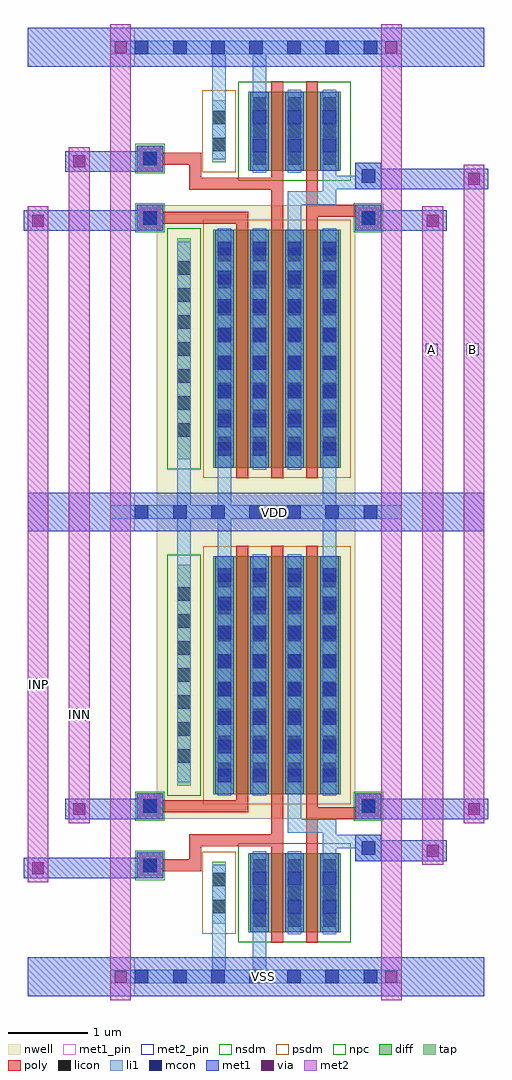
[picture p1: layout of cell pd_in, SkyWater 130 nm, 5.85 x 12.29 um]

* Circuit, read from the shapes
.subckt pd_in A B INN INP VDD VSS
XM1 n1 INP VSS VSS sky130_fd_pr__nfet_01v8 w=1 l=0.15
XM2 n2 INN VSS VSS sky130_fd_pr__nfet_01v8 w=1 l=0.15
XM3 A B n1 VSS sky130_fd_pr__nfet_01v8 w=1 l=0.15
XM4 B A n2 VSS sky130_fd_pr__nfet_01v8 w=1 l=0.15
XM5 n3 INN VDD VDD sky130_fd_pr__pfet_01v8 w=3 l=0.15
XM6 n4 INP VDD VDD sky130_fd_pr__pfet_01v8 w=3 l=0.15
XM7 A INP n3 VDD sky130_fd_pr__pfet_01v8 w=3 l=0.15
XM8 B INN n4 VDD sky130_fd_pr__pfet_01v8 w=3 l=0.15
XM9 VDD B A VDD sky130_fd_pr__pfet_01v8 w=3 l=0.15
XM10 VDD A B VDD sky130_fd_pr__pfet_01v8 w=3 l=0.15
.ends

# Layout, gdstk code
import gdstk
lib = gdstk.Library(unit=1e-6, precision=1e-09)
def R(c, l, rs):  # rectangles x0, y0, x1, y1
    for r in rs: c.add(gdstk.rectangle(r[:2], r[2:], *l))
def A(c, l, x, y, w, h, nx, ny, dx, dy):  # array of equal rectangles
    R(c, l, [(x+i*dx, y+j*dy, x+i*dx+w, y+j*dy+h) for i in range(nx) for j in range(ny)])
nwell = (64, 20)
diff = (65, 20)
tap = (65, 44)
poly = (66, 20)
licon = (66, 44)
li1 = (67, 20)
mcon = (67, 44)
met1_pin = (68, 16)
met1 = (68, 20)
via = (68, 44)
met2_pin = (69, 16)
met2 = (69, 20)
nsdm = (93, 44)
psdm = (94, 20)
npc = (95, 20)

sky130_fd_pr__pfet_01v8_ = lib.new_cell('sky130_fd_pr__pfet_01v8_5EUKDE')
R(sky130_fd_pr__pfet_01v8_, nwell, [(-0.545,-1.81,0.545,1.81)])
R(sky130_fd_pr__pfet_01v8_, diff, [(-0.365,-1.5,0.365,1.5)])
R(sky130_fd_pr__pfet_01v8_, poly, [(-0.075,-1.63,0.075,1.63)])
A(sky130_fd_pr__pfet_01v8_, licon, -0.305, -1.275, 0.17, 0.17, 1, 8, 0, 0.34)
A(sky130_fd_pr__pfet_01v8_, licon, 0.135, -1.275, 0.17, 0.17, 1, 8, 0, 0.34)
R(sky130_fd_pr__pfet_01v8_, li1, [(-0.305,-1.52,-0.135,1.52), (0.135,-1.52,0.305,1.52)])
A(sky130_fd_pr__pfet_01v8_, mcon, -0.305, -1.345, 0.17, 0.17, 1, 8, 0, 0.36)
A(sky130_fd_pr__pfet_01v8_, mcon, 0.135, -1.345, 0.17, 0.17, 1, 8, 0, 0.36)
R(sky130_fd_pr__pfet_01v8_, met1, [(-0.335,-1.5,-0.105,1.5), (0.105,-1.5,0.335,1.5)])
R(sky130_fd_pr__pfet_01v8_, psdm, [(-0.49,-1.625,0.49,1.625)])

sky130_fd_pr__nfet_01v8_ = lib.new_cell('sky130_fd_pr__nfet_01v8_QQ7V57')
R(sky130_fd_pr__nfet_01v8_, diff, [(-0.365,-0.5,0.365,0.5)])
R(sky130_fd_pr__nfet_01v8_, poly, [(-0.075,-0.63,0.075,0.63)])
A(sky130_fd_pr__nfet_01v8_, licon, -0.305, -0.425, 0.17, 0.17, 1, 3, 0, 0.34)
A(sky130_fd_pr__nfet_01v8_, licon, 0.135, -0.425, 0.17, 0.17, 1, 3, 0, 0.34)
R(sky130_fd_pr__nfet_01v8_, li1, [(-0.305,-0.52,-0.135,0.52), (0.135,-0.52,0.305,0.52)])
R(sky130_fd_pr__nfet_01v8_, mcon, [(-0.305,-0.265,-0.135,-0.095), (0.135,-0.265,0.305,-0.095), (-0.305,0.095,-0.135,0.265), (0.135,0.095,0.305,0.265)])
R(sky130_fd_pr__nfet_01v8_, met1, [(-0.335,-0.5,-0.105,0.5), (0.105,-0.5,0.335,0.5)])
R(sky130_fd_pr__nfet_01v8_, nsdm, [(-0.49,-0.625,0.49,0.625)])

pd_in_half = lib.new_cell('pd_in_half')
R(pd_in_half, nwell, [(1.065,0.025,1.595,3.535), (1.065,3.535,3.565,4.135)])
R(pd_in_half, tap, [(1.765,-1.295,1.935,-0.515), (1.325,0.445,1.495,3.225)])
R(pd_in_half, poly, [(0.815,-0.725,1.145,-0.635), (0.815,-0.635,1.625,-0.485), (0.815,-0.485,1.145,-0.395), (1.475,-0.485,1.625,-0.32), (2.505,-0.385,2.655,-0.32), (1.475,-0.32,2.655,-0.17), (2.945,-0.275,3.095,0.02), (2.505,-0.17,2.655,0.38), (0.815,0.02,1.145,0.11), (2.945,0.02,3.895,0.17), (0.815,0.11,2.215,0.26), (2.945,0.17,3.095,0.45), (3.565,0.17,3.895,0.35), (0.815,0.26,1.145,0.35), (2.065,0.26,2.215,0.29)])
A(pd_in_half, licon, 1.325, 0.73, 0.17, 0.17, 1, 7, 0, 0.34)
R(pd_in_half, licon, [(1.765,-1.16,1.935,-0.99), (1.765,-0.82,1.935,-0.65), (0.895,-0.645,1.065,-0.475), (0.895,0.1,1.065,0.27), (3.645,0.1,3.815,0.27)])
R(pd_in_half, li1, [(0.48,-2.045,4.15,-1.875), (1.765,-1.875,1.935,-0.555), (2.275,-1.875,2.445,-1.425), (0.815,-0.725,1.145,-0.395), (3.565,-0.505,3.895,-0.345), (3.155,-0.405,3.325,-0.345), (3.155,-0.345,3.895,-0.175), (3.155,-0.175,3.325,-0.15), (2.715,-0.15,3.325,0.02), (0.815,0.02,1.145,0.35), (2.715,0.02,2.885,0.335), (3.565,0.02,3.895,0.35), (1.325,0.485,1.495,3.805), (1.835,3.18,2.005,3.805), (3.155,3.355,3.325,3.805), (0.48,3.805,4.15,3.975)])
A(pd_in_half, mcon, 0.79, -2.045, 0.17, 0.17, 7, 2, 0.48, 5.85)
R(pd_in_half, mcon, [(0.895,-0.645,1.065,-0.475), (3.645,-0.425,3.815,-0.255), (0.895,0.1,1.065,0.27), (3.645,0.1,3.815,0.27)])
R(pd_in_half, met1_pin, [(0.48,-2.205,0.79,-1.715), (0.895,-0.645,1.065,-0.475), (3.645,-0.425,3.815,-0.255), (0.895,0.1,1.065,0.27), (3.645,0.1,3.815,0.27), (0.48,3.645,0.79,4.135)])
R(pd_in_half, met1, [(0.48,-2.205,4.15,-1.715), (0.815,-0.725,1.145,-0.395), (3.565,-0.505,3.895,-0.175), (0.815,0.02,1.145,0.35), (3.565,0.02,3.895,0.35), (0.48,3.645,4.15,4.135)])
R(pd_in_half, nsdm, [(1.2,0.32,1.62,3.35)])
R(pd_in_half, psdm, [(1.64,-1.42,2.06,-0.39)])
R(pd_in_half, npc, [(0.795,-0.745,1.165,-0.375), (0.795,0,1.165,0.37), (3.545,0,3.915,0.37)])
pd_in_half.add(gdstk.Reference(sky130_fd_pr__pfet_01v8_, (2.14,1.835)))
pd_in_half.add(gdstk.Reference(sky130_fd_pr__pfet_01v8_, (2.58,1.835)))
pd_in_half.add(gdstk.Reference(sky130_fd_pr__pfet_01v8_, (3.02,1.835)))
pd_in_half.add(gdstk.Reference(sky130_fd_pr__nfet_01v8_, (3.02,-0.905)))
pd_in_half.add(gdstk.Reference(sky130_fd_pr__nfet_01v8_, (2.58,-0.905)))
pd_in_half.add(gdstk.Label('OUT', (3.73,-0.34), layer=68, texttype=5))
pd_in_half.add(gdstk.Label('VDD', (0.635,3.89), layer=68, texttype=5))
pd_in_half.add(gdstk.Label('VSS', (0.635,-1.96), layer=68, texttype=5))
pd_in_half.add(gdstk.Label('INB', (0.98,0.185), layer=68, texttype=5))
pd_in_half.add(gdstk.Label('IN', (0.98,-0.56), layer=68, texttype=5))
pd_in_half.add(gdstk.Label('OUTB', (3.73,0.185), layer=68, texttype=5))

pd_in = lib.new_cell('pd_in')
R(pd_in, met1_pin, [(-0.15,-5.845,0,-5.695), (-0.01,0,0.14,0.15)])
A(pd_in, met1, -3.04, -6.02, 5.75, 0.49, 1, 3, 0, 5.85)
R(pd_in, met1, [(-3.09,-4.54,-1.59,-4.28), (1.415,-4.32,2.24,-4.06), (-2.57,-3.795,-1.585,-3.535), (1.415,-3.795,2.76,-3.535), (-3.09,3.615,-1.585,3.875), (1.415,3.615,2.24,3.875), (1.415,4.14,2.76,4.4), (-2.57,4.36,-1.585,4.62)])
R(pd_in, via, [(-1.945,-5.85,-1.795,-5.7), (1.465,-5.85,1.615,-5.7), (-2.985,-4.485,-2.835,-4.335), (1.985,-4.265,2.135,-4.115), (-2.465,-3.74,-2.315,-3.59), (2.505,-3.74,2.655,-3.59), (-2.985,3.67,-2.835,3.82), (1.985,3.67,2.135,3.82), (2.505,4.195,2.655,4.345), (-2.465,4.415,-2.315,4.565), (-1.945,5.85,-1.795,6), (1.465,5.85,1.615,6)])
R(pd_in, met2_pin, [(-2.46,-2.545,-2.31,-2.395), (-2.98,-2.17,-2.83,-2.02), (1.975,2.045,2.125,2.195), (2.49,2.05,2.64,2.2)])
R(pd_in, met2, [(-2,-6.07,-1.74,6.22), (1.41,-6.07,1.67,6.22), (-3.04,-4.59,-2.78,3.925), (1.93,-4.37,2.19,3.925), (-2.52,-3.845,-2.26,4.67), (2.45,-3.845,2.71,4.45)])
pd_in.add(gdstk.Reference(pd_in_half, (-2.48,-3.815)))
pd_in.add(gdstk.Reference(pd_in_half, (-2.48,3.965), x_reflection=True))
pd_in.add(gdstk.Label('INP', (-2.905,-2.095), layer=69, texttype=5))
pd_in.add(gdstk.Label('INN', (-2.385,-2.47), layer=69, texttype=5))
pd_in.add(gdstk.Label('VDD', (0.065,0.075), layer=68, texttype=5))
pd_in.add(gdstk.Label('VSS', (-0.075,-5.77), layer=68, texttype=5))
pd_in.add(gdstk.Label('A', (2.05,2.12), layer=69, texttype=5))
pd_in.add(gdstk.Label('B', (2.565,2.125), layer=69, texttype=5))

lib.write_gds('pd_in.gds')
